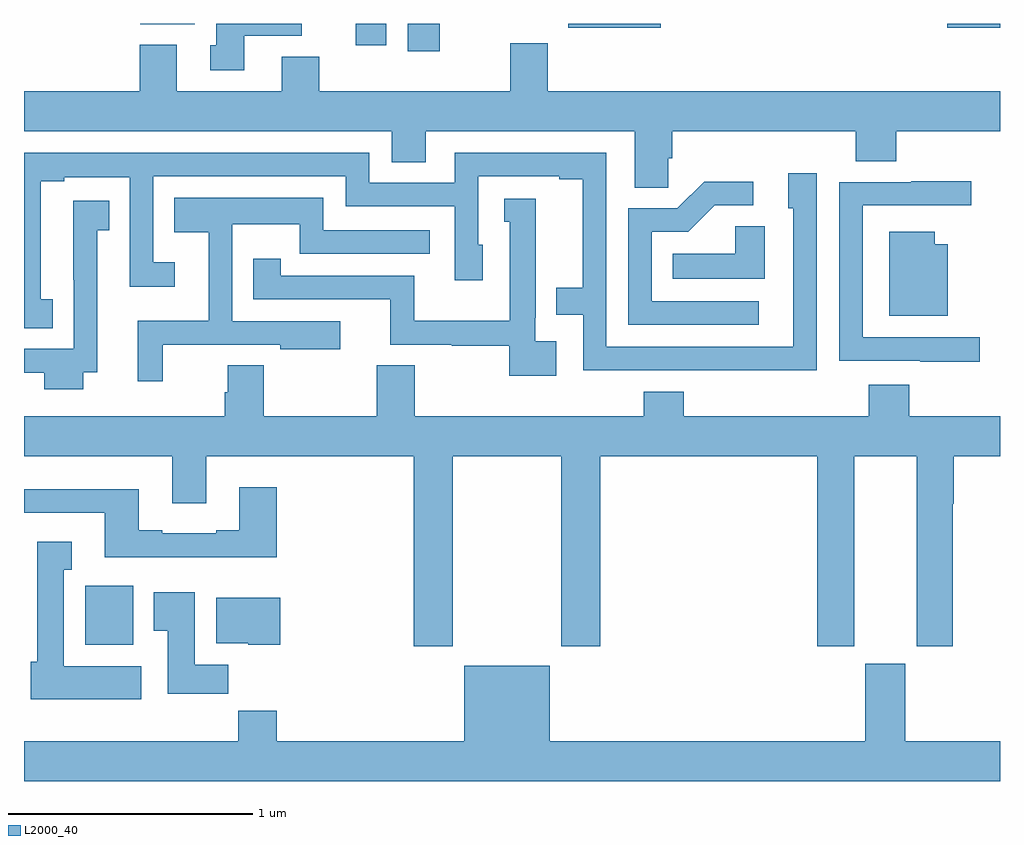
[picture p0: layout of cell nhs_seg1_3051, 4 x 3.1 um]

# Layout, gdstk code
import gdstk
lib = gdstk.Library(unit=1e-6, precision=1e-09)
def R(c, l, rs):  # rectangles x0, y0, x1, y1
    for r in rs: c.add(gdstk.rectangle(r[:2], r[2:], *l))
def P(c, l, *ps):  # polygons
    for p in ps: c.add(gdstk.Polygon(p, *l))
L2000_40 = (2000, 40)

nhs_seg1_3051 = lib.new_cell('nhs_seg1_3051')
R(nhs_seg1_3051, L2000_40, [(277.25,521.654,277.447,521.896), (278.573,524.088,278.704,524.199), (278.36,524.112,278.485,524.199), (279.23,524.183,279.61,524.199), (280.784,524.183,281,524.199), (277.476,524.198,277.699,524.199)])
P(nhs_seg1_3051, L2000_40, [(277.903,524.15),(278.139,524.15),(278.139,524.199),(277.787,524.199),(277.787,524.112),(277.763,524.112),(277.763,524.01),(277.903,524.01)],
  [(278.21,524.065),(278.057,524.065),(278.057,523.924),(277.627,523.924),(277.627,524.113),(277.475,524.113),(277.475,523.924),(277,523.924),(277,523.76),(278.507,523.76),(278.507,523.633),(278.647,523.633),(278.647,523.76),(279.503,523.76),(279.503,523.528),(279.641,523.528),(279.641,523.648),(279.656,523.648),(279.656,523.76),(280.409,523.76),(280.409,523.636),(280.574,523.636),(280.574,523.76),(281,523.76),(281,523.924),(279.146,523.924),(279.146,524.119),(278.993,524.119),(278.993,523.924),(278.21,523.924)],
  [(280.248,523.588),(280.133,523.588),(280.133,523.443),(280.152,523.443),(280.152,522.876),(279.387,522.876),(279.387,523.671),(278.766,523.671),(278.766,523.548),(278.415,523.548),(278.415,523.671),(277.427,523.671),(277.427,523.672),(277,523.672),(277,522.952),(277.118,522.952),(277.118,523.071),(277.069,523.071),(277.069,523.554),(277.165,523.554),(277.165,523.571),(277.434,523.571),(277.434,523.121),(277.618,523.121),(277.618,523.222),(277.53,523.222),(277.53,523.575),(278.319,523.575),(278.319,523.452),(278.766,523.452),(278.766,523.149),(278.881,523.149),(278.881,523.293),(278.862,523.293),(278.862,523.575),(279.194,523.575),(279.194,523.563),(279.29,523.563),(279.29,523.117),(279.182,523.117),(279.182,523.008),(279.291,523.008),(279.291,522.78),(279.787,522.78),(279.787,522.779),(280.248,522.779)],
  [(280.918,522.915),(280.437,522.915),(280.437,523.455),(280.882,523.455),(280.882,523.555),(280.637,523.555),(280.637,523.551),(280.341,523.551),(280.341,522.819),(280.673,522.819),(280.673,522.815),(280.918,522.815)],
  [(280.012,523.062),(279.573,523.062),(279.573,523.347),(279.723,523.347),(279.831,523.455),(279.988,523.455),(279.988,523.553),(279.788,523.553),(279.678,523.443),(279.477,523.443),(279.477,522.966),(280.012,522.966)],
  [(277.568,522.885),(278.051,522.885),(278.051,522.866),(278.296,522.866),(278.296,522.981),(277.854,522.981),(277.854,523.379),(278.13,523.379),(278.13,523.258),(278.233,523.258),(278.233,523.257),(278.662,523.257),(278.662,523.353),(278.226,523.353),(278.226,523.486),(277.615,523.486),(277.615,523.346),(277.757,523.346),(277.757,522.982),(277.466,522.982),(277.466,522.735),(277.568,522.735)],
  [(279.181,522.898),(279.096,522.898),(279.096,522.994),(279.097,522.994),(279.097,523.482),(278.969,523.482),(278.969,523.389),(278.99,523.389),(278.99,522.982),(278.599,522.982),(278.599,523.167),(278.052,523.167),(278.052,523.237),(277.939,523.237),(277.939,523.071),(278.501,523.071),(278.501,522.885),(278.754,522.885),(278.754,522.88),(278.988,522.88),(278.988,522.758),(279.181,522.758)],
  [(277.243,522.771),(277.3,522.771),(277.3,523.353),(277.349,523.353),(277.349,523.474),(277.202,523.474),(277.202,523.15),(277.203,523.15),(277.203,522.867),(277,522.867),(277,522.77),(277.084,522.77),(277.084,522.701),(277.243,522.701)],
  [(280.036,523.37),(279.914,523.37),(279.914,523.258),(279.658,523.258),(279.658,523.154),(280.036,523.154)],
  [(280.786,523.297),(280.733,523.297),(280.733,523.348),(280.547,523.348),(280.547,523.004),(280.786,523.004)],
  [(277,522.428),(277.607,522.428),(277.607,522.234),(277.747,522.234),(277.747,522.428),(278.597,522.428),(278.597,521.649),(278.757,521.649),(278.757,522.428),(279.202,522.428),(279.202,521.649),(279.362,521.649),(279.362,522.428),(280.25,522.428),(280.25,521.649),(280.402,521.649),(280.402,522.428),(280.658,522.428),(280.658,521.649),(280.806,521.649),(280.806,522.232),(280.811,522.232),(280.811,522.428),(281,522.428),(281,522.592),(280.628,522.592),(280.628,522.721),(280.463,522.721),(280.463,522.592),(279.704,522.592),(279.704,522.691),(279.539,522.691),(279.539,522.592),(278.601,522.592),(278.601,522.8),(278.446,522.8),(278.446,522.592),(277.983,522.592),(277.983,522.8),(277.835,522.8),(277.835,522.69),(277.823,522.69),(277.823,522.592),(277,522.592)],
  [(278.036,522.301),(277.883,522.301),(277.883,522.124),(277.787,522.124),(277.787,522.111),(277.567,522.111),(277.567,522.124),(277.471,522.124),(277.471,522.292),(277,522.292),(277,522.195),(277.331,522.195),(277.331,522.014),(278.036,522.014)],
  [(277.48,521.566),(277.162,521.566),(277.162,521.963),(277.195,521.963),(277.195,522.076),(277.055,522.076),(277.055,521.586),(277.028,521.586),(277.028,521.432),(277.48,521.432)],
  [(277.838,521.572),(277.699,521.572),(277.699,521.869),(277.532,521.869),(277.532,521.713),(277.589,521.713),(277.589,521.454),(277.838,521.454)],
  [(278.051,521.848),(277.787,521.848),(277.787,521.66),(277.92,521.66),(277.92,521.654),(278.051,521.654)],
  [(281,521.26),(280.612,521.26),(280.612,521.577),(280.448,521.577),(280.448,521.26),(279.154,521.26),(279.154,521.569),(278.804,521.569),(278.804,521.26),(278.036,521.26),(278.036,521.384),(277.879,521.384),(277.879,521.26),(277,521.26),(277,521.096),(281,521.096)])

lib.write_gds('nhs_seg1_3051.gds')
